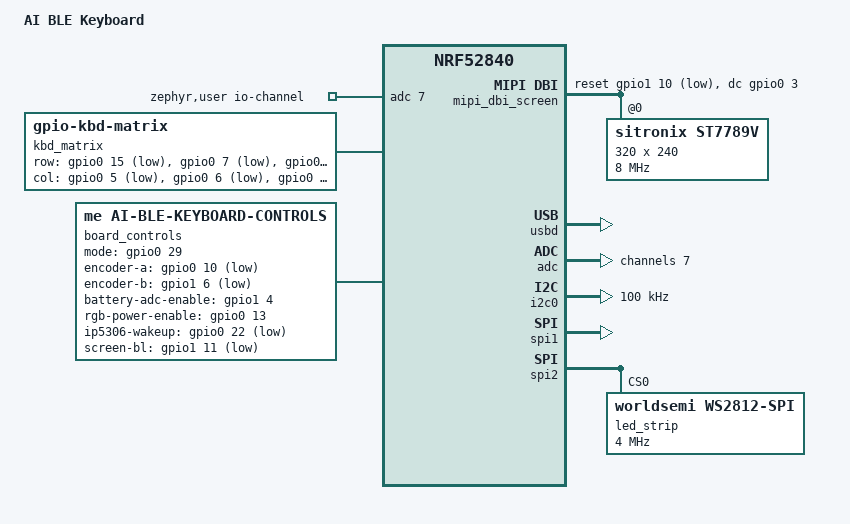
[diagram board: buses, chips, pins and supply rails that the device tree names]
/dts-v1/;

#include <nordic/nrf52840_qiaa.dtsi>
#include <zephyr/dt-bindings/adc/nrf-saadc.h>
#include <zephyr/dt-bindings/gpio/gpio.h>
#include <zephyr/dt-bindings/led/led.h>
#include <zephyr/dt-bindings/mipi_dbi/mipi_dbi.h>
#include "ai_ble_keyboard-pinctrl.dtsi"

/ {
	model = "AI BLE Keyboard";
	compatible = "me,ai-ble-keyboard";

	chosen {
		zephyr,sram = &sram0;
		zephyr,flash = &flash0;
		zephyr,code-partition = &slot0_partition;
		zephyr,display = &st7789v;
	};

	aliases {
		led-strip = &led_strip;
	};

	zephyr,user {
		io-channels = <&adc 7>;
	};

	kbd_matrix: keyboard-matrix {
		compatible = "gpio-kbd-matrix";
		row-gpios = <&gpio0 15 GPIO_ACTIVE_LOW>,
			    <&gpio0 7 GPIO_ACTIVE_LOW>,
			    <&gpio0 12 GPIO_ACTIVE_LOW>,
			    <&gpio0 4 GPIO_ACTIVE_LOW>,
			    <&gpio1 9 GPIO_ACTIVE_LOW>,
			    <&gpio0 8 GPIO_ACTIVE_LOW>;
		col-gpios = <&gpio0 5 (GPIO_PULL_UP | GPIO_ACTIVE_LOW)>,
			    <&gpio0 6 (GPIO_PULL_UP | GPIO_ACTIVE_LOW)>,
			    <&gpio0 26 (GPIO_PULL_UP | GPIO_ACTIVE_LOW)>,
			    <&gpio0 30 (GPIO_PULL_UP | GPIO_ACTIVE_LOW)>;
	};

	board_controls: board-controls {
		compatible = "me,ai-ble-keyboard-controls";
		mode-gpios = <&gpio0 29 (GPIO_PULL_UP | GPIO_ACTIVE_HIGH)>;
		encoder-a-gpios = <&gpio0 10 (GPIO_PULL_UP | GPIO_ACTIVE_LOW)>;
		encoder-b-gpios = <&gpio1 6 (GPIO_PULL_UP | GPIO_ACTIVE_LOW)>;
		battery-adc-enable-gpios = <&gpio1 4 GPIO_ACTIVE_HIGH>;
		rgb-power-enable-gpios = <&gpio0 13 GPIO_ACTIVE_HIGH>;
		ip5306-wakeup-gpios = <&gpio0 22 (GPIO_ACTIVE_LOW | GPIO_OPEN_DRAIN)>;
		screen-bl-gpios = <&gpio1 11 GPIO_ACTIVE_LOW>;
	};
};

&flash0 {
	partitions {
		compatible = "fixed-partitions";
		#address-cells = <1>;
		#size-cells = <1>;

		boot_partition: partition@0 {
			label = "mcuboot";
			reg = <0x00000000 DT_SIZE_K(48)>;
		};

		slot0_partition: partition@c000 {
			label = "image-0";
			reg = <0x0000c000 DT_SIZE_K(472)>;
		};

		slot1_partition: partition@82000 {
			label = "image-1";
			reg = <0x00082000 DT_SIZE_K(472)>;
		};

		storage_partition: partition@f8000 {
			label = "storage";
			reg = <0x000f8000 DT_SIZE_K(32)>;
		};
	};
};

&gpio0 {
	status = "okay";
};

&gpio1 {
	status = "okay";
};

&gpiote {
	status = "okay";
};

&uicr {
	nfct-pins-as-gpios;
};

&usbd {
	status = "okay";
};

&adc {
	status = "okay";
	#address-cells = <1>;
	#size-cells = <0>;

	channel@7 {
		reg = <7>;
		zephyr,gain = "ADC_GAIN_1_6";
		zephyr,reference = "ADC_REF_INTERNAL";
		zephyr,acquisition-time = <ADC_ACQ_TIME_DEFAULT>;
		zephyr,input-positive = <NRF_SAADC_AIN7>;
		zephyr,resolution = <12>;
	};
};

&i2c0 {
	compatible = "nordic,nrf-twim";
	status = "okay";
	pinctrl-0 = <&i2c0_default>;
	pinctrl-1 = <&i2c0_sleep>;
	pinctrl-names = "default", "sleep";
	clock-frequency = <I2C_BITRATE_STANDARD>;
};

&spi1 {
	compatible = "nordic,nrf-spim";
	status = "okay";
	pinctrl-0 = <&spi1_default>;
	pinctrl-1 = <&spi1_sleep>;
	pinctrl-names = "default", "sleep";
	cs-gpios = <&gpio0 2 GPIO_ACTIVE_LOW>;
};

/ {
	mipi_dbi_screen {
		compatible = "zephyr,mipi-dbi-spi";
		spi-dev = <&spi1>;
		dc-gpios = <&gpio0 3 GPIO_ACTIVE_HIGH>;
		reset-gpios = <&gpio1 10 GPIO_ACTIVE_LOW>;
		write-only;
		#address-cells = <1>;
		#size-cells = <0>;
		status = "okay";

		st7789v: st7789v@0 {
			compatible = "sitronix,st7789v";
			reg = <0>;
			mipi-max-frequency = <8000000>;
			width = <320>;
			height = <240>;
			x-offset = <0>;
			y-offset = <0>;
			vcom = <0x2b>;
			gctrl = <0x35>;
			vrhs = <0x0f>;
			vdvs = <0x20>;
			mdac = <0xa0>;
			gamma = <0x01>;
			colmod = <0x05>;
			lcm = <0x2c>;
			porch-param = [0c 0c 00 33 33];
			cmd2en-param = [5a 69 02 01];
			pwctrl1-param = [52 a1];
			pvgam-param = [d0 00 02 07 0b 1a 31 54 40 29 12 12 12 17];
			nvgam-param = [d0 00 02 07 05 15 2d 44 44 1c 18 16 1c 1d];
			ram-param = [00 f8];
			rgb-param = [cd 08 14];
			mipi-mode = "MIPI_DBI_MODE_SPI_4WIRE";
			status = "okay";
		};
	};
};

&spi2 {
	compatible = "nordic,nrf-spim";
	status = "okay";
	pinctrl-0 = <&spi2_default>;
	pinctrl-1 = <&spi2_sleep>;
	pinctrl-names = "default", "sleep";

	led_strip: ws2812@0 {
		compatible = "worldsemi,ws2812-spi";
		reg = <0>;
		spi-max-frequency = <4000000>;
		chain-length = <24>;
		color-mapping = <LED_COLOR_ID_GREEN LED_COLOR_ID_RED LED_COLOR_ID_BLUE>;
		spi-one-frame = <0x70>;
		spi-zero-frame = <0x40>;
	};
};
